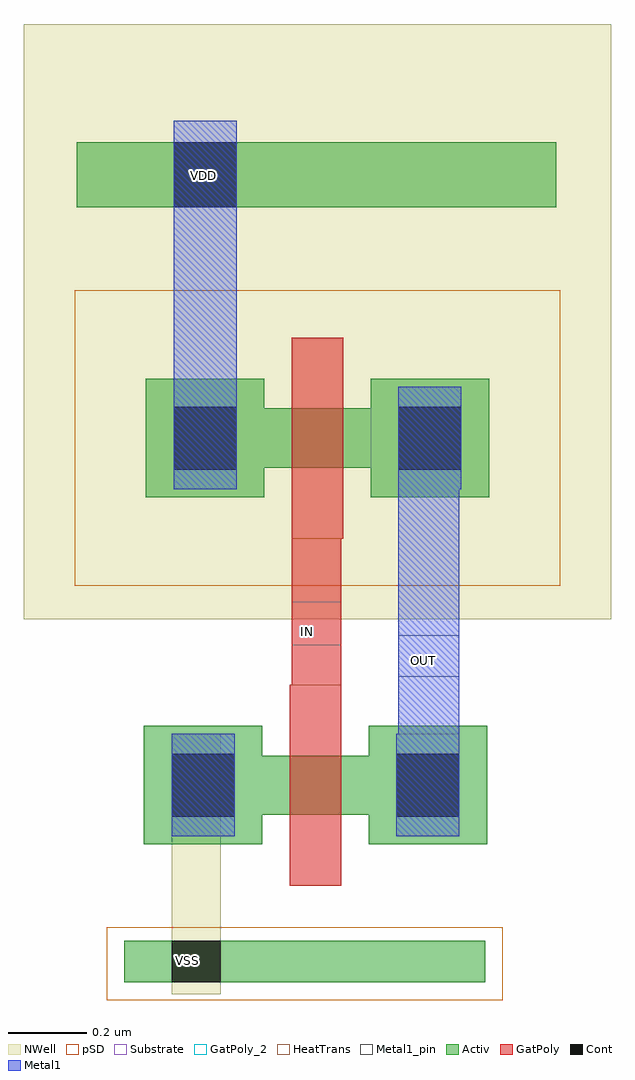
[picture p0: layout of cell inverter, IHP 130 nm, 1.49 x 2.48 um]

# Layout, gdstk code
import gdstk
lib = gdstk.Library(unit=1e-6, precision=5e-09)
def R(c, l, rs):  # rectangles x0, y0, x1, y1
    for r in rs: c.add(gdstk.rectangle(r[:2], r[2:], *l))
Activ = (1, 0)
GatPoly = (5, 0)
GatPoly_2 = (5, 2)
Cont = (6, 0)
Metal1 = (8, 0)
Metal1_pin = (8, 2)
pSD = (14, 0)
NWell = (31, 0)
Substrate = (40, 0)
HeatTrans = (51, 0)

nmos = lib.new_cell('nmos')
R(nmos, Activ, [(0,0,0.3,0.3), (0.57,0,0.87,0.3), (0,0.075,0.87,0.225)])
R(nmos, GatPoly, [(0.37,-0.105,0.5,0.405)])
R(nmos, GatPoly_2, [(0.37,-0.105,0.5,0.405)])
R(nmos, Cont, [(0.07,0.07,0.23,0.23), (0.64,0.07,0.8,0.23)])
R(nmos, Metal1, [(0.07,0.02,0.23,0.28), (0.64,0.02,0.8,0.28)])
R(nmos, Metal1_pin, [(0.07,0.02,0.23,0.28), (0.64,0.02,0.8,0.28)])
R(nmos, HeatTrans, [(0.37,-0.105,0.5,0.405)])
nmos.add(gdstk.Label('nmos', (0.435,0.15), layer=63, texttype=0))
nmos.add(gdstk.Label('nmos', (0.435,0.15), layer=51, texttype=0))

pmos = lib.new_cell('pmos')
R(pmos, Activ, [(0,0,0.3,0.3), (0.57,0,0.87,0.3), (0,0.075,0.87,0.225)])
R(pmos, GatPoly, [(0.37,-0.105,0.5,0.405), (0.37,-0.105,0.5,0.405)])
R(pmos, Cont, [(0.07,0.07,0.23,0.23), (0.64,0.07,0.8,0.23)])
R(pmos, Metal1, [(0.07,0.02,0.23,0.28), (0.07,0.02,0.23,0.28), (0.64,0.02,0.8,0.28), (0.64,0.02,0.8,0.28)])
R(pmos, pSD, [(-0.18,-0.225,1.05,0.525)])
R(pmos, NWell, [(-0.31,-0.31,1.18,0.61)])
R(pmos, Substrate, [(0.57,0,0.87,0.3)])
R(pmos, HeatTrans, [(0.37,-0.105,0.5,0.405)])
pmos.add(gdstk.Label('pmos', (0.435,0.15), layer=63, texttype=0))
pmos.add(gdstk.Label('pmos', (0.435,0.15), layer=51, texttype=0))

inverter = lib.new_cell('inverter')
R(inverter, Activ, [(-3.305,1.165,-2.39,1.27), (-3.425,3.13,-2.21,3.295)])
R(inverter, GatPoly, [(-2.88,1.41,-2.755,2.8)])
R(inverter, GatPoly_2, [(-2.88,2.02,-2.755,2.13)])
R(inverter, Cont, [(-3.185,1.165,-3.06,1.27), (-3.185,1.165,-3.06,1.27), (-3.18,3.13,-3.02,3.295)])
R(inverter, Metal1, [(-2.61,1.535,-2.455,2.675), (-3.18,2.415,-3.02,3.35)])
R(inverter, Metal1_pin, [(-3.185,1.165,-3.06,1.27), (-2.61,1.94,-2.455,2.045), (-3.18,3.13,-3.02,3.295), (-3.18,3.13,-3.025,3.295)])
R(inverter, pSD, [(-3.35,1.12,-2.345,1.305)])
R(inverter, NWell, [(-3.185,1.135,-3.06,1.795), (-3.56,2.085,-2.07,3.595)])
inverter.add(gdstk.Reference(nmos, (-3.255,1.515)))
inverter.add(gdstk.Reference(pmos, (-3.25,2.395)))
inverter.add(gdstk.Label('VDD', (-3.105,3.21), layer=8, texttype=2))
inverter.add(gdstk.Label('VSS', (-3.145,1.22), layer=8, texttype=2))
inverter.add(gdstk.Label('OUT', (-2.545,1.98), layer=8, texttype=2))
inverter.add(gdstk.Label('IN', (-2.84,2.055), layer=5, texttype=2))

lib.write_gds('inverter.gds')
